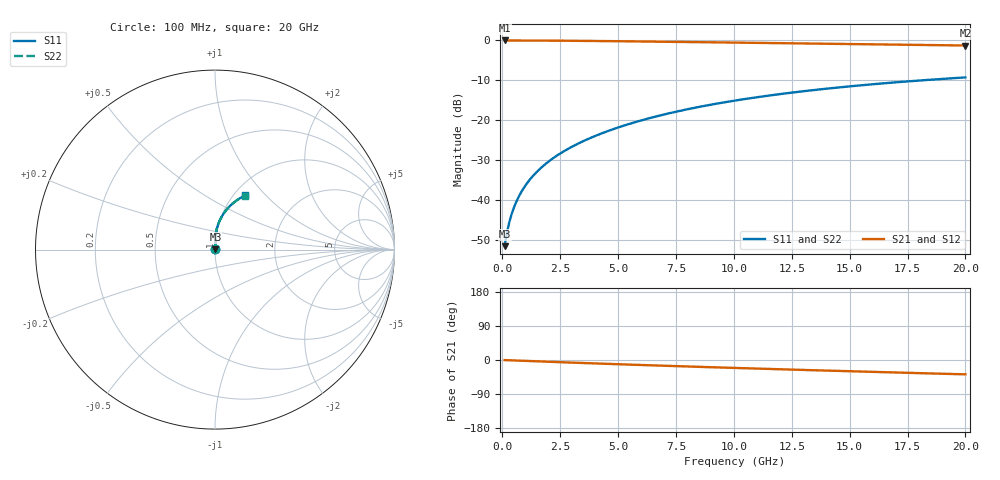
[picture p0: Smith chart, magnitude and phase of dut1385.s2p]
! Touchstone file exported from HFSS 2024.1.0
!  File:  C:/UserFiles/LocalFiles/RDL_TSV_Batchsim/temp_RDL_bottom_1385_1780371764.aedt
!  Generated:  11:45:37 AM Jun  2, 2026
!  Design:  RDL_bottom
!  Project:  temp_RDL_bottom_1385_1780371764
!  Setup:  Setup1
!  Solution:  Sweep
! Variables:
!  dtsv = 10.80580581um
!  hbump = 3um
!  htsv = 82.15um
!  ldown = 511.87um
!  lrdl = 100um
!  p = 40
!  p1 = 59.48um
!  rhole = 1um
!  t = 450um
!  tdown = 3.62um
!  trdl = 3.915915916um
!  wdown = 26.93um
!  wrdl = 20um
# GHz S MA R 50.000000
! Terminal data exported
! Port[1] = RDL1_T1
! Port[2] = RDL1_T2
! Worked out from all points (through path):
!   200 points, 100 MHz to 20 GHz, reference 50 ohm
!   highest |S21| = -0.02 dB at 100 MHz (marker M1); lowest = -1.3 dB at 20 GHz (marker M2)
!   group delay of S21, straight-line fit = 5.2 ps
!   lowest |S11| = -51.4 dB at 100 MHz (marker M3), VSWR 1.01, Z = 50.2 + j0.169 ohm
!   |S11| at or under -10 dB: start of sweep to 18.08 GHz
!   |S22| runs from -51.4 to -9.3 dB; largest |S21 - S12| = 2e-15
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0.1  0.002683 38.7  0.9979 -0.2  0.9979 -0.2  0.002683 38.7
! Gamma 0 0 0 0
! Port Impedance 50 0 50 0
0.2  0.003951 55.8  0.9977 -0.5  0.9977 -0.5  0.003951 55.8
0.3  0.005321 64.1  0.9976 -0.7  0.9976 -0.7  0.005321 64.1
0.4  0.006711 69.0  0.9974 -1.0  0.9974 -1.0  0.006712 69.0
0.5  0.008118 72.5  0.9972 -1.2  0.9972 -1.2  0.008119 72.5
0.6  0.009542 75.0  0.9971 -1.4  0.9971 -1.4  0.009542 75.0
0.8  0.01244 78.5  0.9967 -1.9  0.9967 -1.9  0.01244 78.5
1.1  0.01686 81.7  0.9961 -2.6  0.9961 -2.6  0.01686 81.7
1.5  0.0229 84.1  0.9951 -3.5  0.9951 -3.5  0.0229 84.1
1.8  0.02751 85.3  0.9941 -4.2  0.9941 -4.2  0.02751 85.2
2.1  0.0322 86.1  0.993 -4.9  0.993 -4.9  0.0322 86.1
2.7  0.04181 87.1  0.9903 -6.2  0.9903 -6.2  0.04181 87.1
3.5  0.05512 87.6  0.9861 -8.0  0.9861 -8.0  0.05512 87.6
4.2  0.06723 87.6  0.9818 -9.5  0.9818 -9.5  0.06722 87.6
5  0.08153 87.1  0.9764 -11.2  0.9764 -11.2  0.08151 87.1
6.8  0.115 85.1  0.9633 -14.8  0.9633 -14.8  0.115 85.1
8.4  0.1456 82.5  0.9512 -17.9  0.9512 -17.9  0.1455 82.5
10.1  0.178 79.4  0.9382 -21.1  0.9382 -21.1  0.1779 79.4
11.7  0.2079 76.3  0.926 -23.9  0.926 -23.9  0.2078 76.3
13.4  0.2386 73.1  0.9131 -26.9  0.9131 -26.9  0.2385 73.0
16.7  0.2945 66.9  0.8879 -32.5  0.8879 -32.5  0.2944 66.8
20  0.3447 61.0  0.8628 -37.9  0.8628 -37.9  0.3445 61.0
